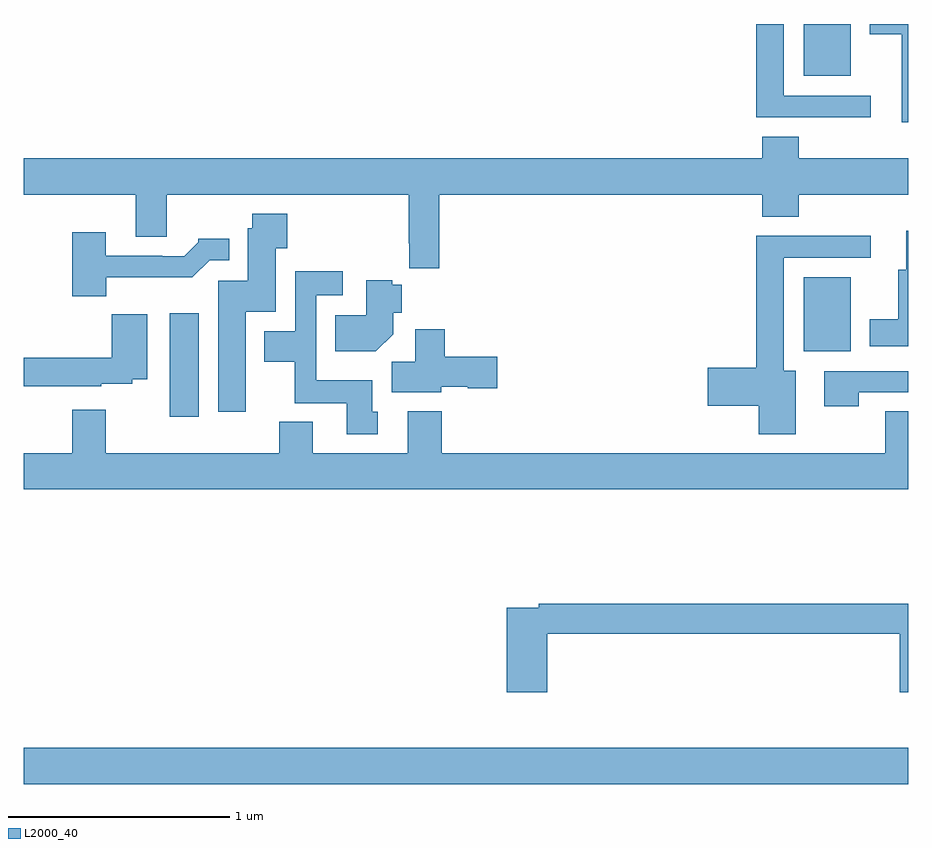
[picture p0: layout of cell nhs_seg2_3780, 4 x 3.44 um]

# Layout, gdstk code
import gdstk
lib = gdstk.Library(unit=1e-6, precision=1e-09)
def R(c, l, rs):  # rectangles x0, y0, x1, y1
    for r in rs: c.add(gdstk.rectangle(r[:2], r[2:], *l))
def P(c, l, *ps):  # polygons
    for p in ps: c.add(gdstk.Polygon(p, *l))
L2000_40 = (2000, 40)

nhs_seg2_3780 = lib.new_cell('nhs_seg2_3780')
R(nhs_seg2_3780, L2000_40, [(311,586.364,315,586.528), (311.66,588.024,311.791,588.493), (314.528,588.32,314.74,588.655), (314.528,589.565,314.74,589.8)])
P(nhs_seg2_3780, L2000_40, [(315,589.8),(314.825,589.8),(314.825,589.754),(314.969,589.754),(314.969,589.356),(315,589.356)],
  [(314.83,589.476),(314.437,589.476),(314.437,589.8),(314.312,589.8),(314.312,589.379),(314.83,589.379)],
  [(312.878,589.028),(314.339,589.028),(314.339,588.929),(314.504,588.929),(314.504,589.028),(315,589.028),(315,589.192),(314.504,589.192),(314.504,589.291),(314.339,589.291),(314.339,589.192),(311,589.192),(311,589.028),(311.507,589.028),(311.507,588.838),(311.647,588.838),(311.647,589.028),(312.742,589.028),(312.742,588.808),(312.743,588.808),(312.743,588.696),(312.878,588.696)],
  [(312.004,588.5),(312.139,588.5),(312.139,588.787),(312.191,588.787),(312.191,588.943),(312.034,588.943),(312.034,588.876),(312.014,588.876),(312.014,588.639),(311.879,588.639),(311.879,588.048),(312.004,588.048)],
  [(315,588.865),(314.99,588.865),(314.99,588.688),(314.954,588.688),(314.954,588.466),(314.825,588.466),(314.825,588.344),(315,588.344)],
  [(311.374,588.654),(311.763,588.654),(311.841,588.732),(311.929,588.732),(311.929,588.829),(311.79,588.829),(311.79,588.814),(311.726,588.75),(311.627,588.75),(311.627,588.753),(311.371,588.753),(311.371,588.859),(311.219,588.859),(311.219,588.569),(311.374,588.569)],
  [(314.491,588.232),(314.437,588.232),(314.437,588.744),(314.83,588.744),(314.83,588.842),(314.312,588.842),(314.312,588.245),(314.094,588.245),(314.094,588.074),(314.324,588.074),(314.324,587.946),(314.491,587.946)],
  [(312.601,588.048),(312.577,588.048),(312.577,588.19),(312.324,588.19),(312.324,588.573),(312.442,588.573),(312.442,588.682),(312.228,588.682),(312.228,588.412),(312.089,588.412),(312.089,588.272),(312.226,588.272),(312.226,588.086),(312.461,588.086),(312.461,587.946),(312.601,587.946)],
  [(312.67,588.398),(312.67,588.494),(312.709,588.494),(312.709,588.622),(312.666,588.622),(312.666,588.642),(312.548,588.642),(312.548,588.484),(312.409,588.484),(312.409,588.32),(312.592,588.32)],
  [(311.352,588.173),(311.49,588.173),(311.49,588.194),(311.56,588.194),(311.56,588.487),(311.398,588.487),(311.398,588.29),(311,588.29),(311,588.162),(311.352,588.162)],
  [(312.888,588.161),(313.008,588.161),(313.008,588.154),(313.141,588.154),(313.141,588.296),(312.905,588.296),(312.905,588.421),(312.77,588.421),(312.77,588.272),(312.665,588.272),(312.665,588.134),(312.888,588.134)],
  [(314.775,588.135),(315,588.135),(315,588.231),(314.619,588.231),(314.619,588.072),(314.775,588.072)],
  [(315,588.05),(314.896,588.05),(314.896,587.86),(312.89,587.86),(312.89,588.049),(312.737,588.049),(312.737,587.86),(312.307,587.86),(312.307,588.001),(312.155,588.001),(312.155,587.86),(311.371,587.86),(311.371,588.055),(311.219,588.055),(311.219,587.86),(311,587.86),(311,587.696),(315,587.696)],
  [(313.367,587.044),(314.96,587.044),(314.96,586.779),(315,586.779),(315,587.18),(313.33,587.18),(313.33,587.16),(313.184,587.16),(313.184,586.779),(313.367,586.779)])

lib.write_gds('nhs_seg2_3780.gds')
